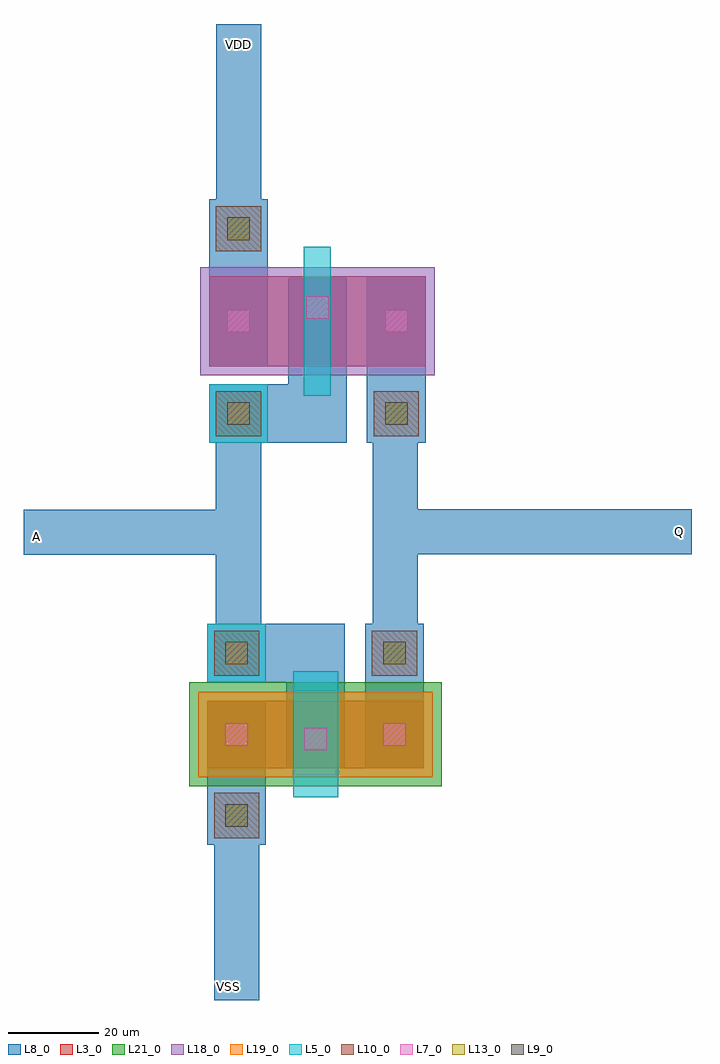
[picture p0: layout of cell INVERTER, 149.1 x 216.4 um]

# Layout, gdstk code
import gdstk
lib = gdstk.Library(unit=1e-6, precision=1e-07)
def R(c, l, rs):  # rectangles x0, y0, x1, y1
    for r in rs: c.add(gdstk.rectangle(r[:2], r[2:], *l))
def P(c, l, *ps):  # polygons
    for p in ps: c.add(gdstk.Polygon(p, *l))
L3_0 = (3, 0)
L5_0 = (5, 0)
L7_0 = (7, 0)
L8_0 = (8, 0)
L9_0 = (9, 0)
L10_0 = (10, 0)
L13_0 = (13, 0)
L18_0 = (18, 0)
L19_0 = (19, 0)
L21_0 = (21, 0)

dcont = lib.new_cell('dcont')
R(dcont, L3_0, [(-6.5,-6.5,6.5,6.5)])
R(dcont, L7_0, [(-2.5,-2.5,2.5,2.5)])
R(dcont, L8_0, [(-6.5,-6.5,6.5,6.5)])

pcont = lib.new_cell('pcont')
R(pcont, L5_0, [(-6.5,-6.5,6.5,6.5)])
R(pcont, L7_0, [(-2.5,-2.5,2.5,2.5)])
R(pcont, L8_0, [(-6.5,-6.5,6.5,6.5)])
R(pcont, L13_0, [(-2.5,-2.5,2.5,2.5)])

via = lib.new_cell('Via')
R(via, L8_0, [(-6.5,-6.5,6.5,6.5)])
R(via, L9_0, [(-2.5,-2.5,2.5,2.5)])
R(via, L10_0, [(-5,-5,5,5)])
R(via, L13_0, [(-2.5,-2.5,2.5,2.5)])

nch = lib.new_cell('Nch')
R(nch, L3_0, [(0,17,48,32)])
R(nch, L19_0, [(-2,15,50,34)])
R(nch, L21_0, [(-4,13,52,36)])
nch.add(gdstk.FlexPath([(24,17),(24,32)], 10, ends=(6.5, 6.5), simple_path=True, layer=5, datatype=0))  # L5_0
nch.add(gdstk.FlexPath([(6.5,17),(6.5,32)], 13, ends="flush", simple_path=True, layer=8, datatype=0))  # L8_0
nch.add(gdstk.FlexPath([(41.5,17),(41.5,32)], 13, ends="flush", simple_path=True, layer=8, datatype=0))  # L8_0
nch.add(gdstk.FlexPath([(6.5,42.5),(24,42.5),(24,38.5)], 13, ends="flush", simple_path=True, layer=8, datatype=0))  # L8_0
nch.add(gdstk.FlexPath([(6.5,6.5),(6.5,21)], 13, ends="flush", simple_path=True, layer=8, datatype=0))  # L8_0
nch.add(gdstk.FlexPath([(24,17),(24,42.5)], 13, ends="flush", simple_path=True, layer=8, datatype=0))  # L8_0
nch.add(gdstk.FlexPath([(41.5,28),(41.5,41.5)], 13, ends="flush", simple_path=True, layer=8, datatype=0))  # L8_0
nch.add(gdstk.Reference(dcont, (6.5,24.5)))
nch.add(gdstk.Reference(dcont, (41.5,24.5)))
nch.add(gdstk.Reference(pcont, (6.5,42.5)))
nch.add(gdstk.Reference(via, (6.5,42.5)))
nch.add(gdstk.Reference(via, (6.5,6.5)))
nch.add(gdstk.Reference(dcont, (24,23.5)))
nch.add(gdstk.Reference(via, (41.5,42.5)))

pch = lib.new_cell('Pch')
R(pch, L3_0, [(0,17,48,37)])
R(pch, L18_0, [(-2,15,50,39)])
pch.add(gdstk.FlexPath([(24,17),(24,37)], 6, ends=(6.5, 6.5), simple_path=True, layer=5, datatype=0))  # L5_0
pch.add(gdstk.FlexPath([(6.5,17),(6.5,37)], 13, ends="flush", simple_path=True, layer=8, datatype=0))  # L8_0
pch.add(gdstk.FlexPath([(41.5,17),(41.5,37)], 13, ends="flush", simple_path=True, layer=8, datatype=0))  # L8_0
pch.add(gdstk.FlexPath([(6.5,6.5),(24,6.5),(24,10.5)], 13, ends="flush", simple_path=True, layer=8, datatype=0))  # L8_0
pch.add(gdstk.FlexPath([(6.5,33),(6.5,47.5)], 13, ends="flush", simple_path=True, layer=8, datatype=0))  # L8_0
pch.add(gdstk.FlexPath([(24,6.5),(24,36.5)], 13, ends="flush", simple_path=True, layer=8, datatype=0))  # L8_0
pch.add(gdstk.FlexPath([(41.5,9),(41.5,21)], 13, ends="flush", simple_path=True, layer=8, datatype=0))  # L8_0
pch.add(gdstk.Reference(dcont, (6.5,27)))
pch.add(gdstk.Reference(dcont, (41.5,27)))
pch.add(gdstk.Reference(pcont, (6.5,6.5)))
pch.add(gdstk.Reference(via, (6.5,6.5)))
pch.add(gdstk.Reference(via, (6.5,47.5)))
pch.add(gdstk.Reference(dcont, (24,30)))
pch.add(gdstk.Reference(via, (41.5,6.5)))

inverter = lib.new_cell('INVERTER')
P(inverter, L8_0, [(-42.6,88.4),(-42.6,88.4),(-42.6,88.4),(-42.6,88.4)])
inverter.add(gdstk.FlexPath([(-144.1,66.2),(-144.1,11.1)], 10, ends="flush", simple_path=True, layer=8, datatype=0))  # L8_0
inverter.add(gdstk.FlexPath([(-109.3,66),(-109.3,11.4)], 10, ends="flush", simple_path=True, layer=8, datatype=0))  # L8_0
inverter.add(gdstk.FlexPath([(-144,101.4),(-144,152.6)], 10, ends="flush", simple_path=True, layer=8, datatype=0))  # L8_0
inverter.add(gdstk.FlexPath([(-109.1,40),(-43.6,40)], 10, ends="flush", simple_path=True, layer=8, datatype=0))  # L8_0
inverter.add(gdstk.FlexPath([(-144.3,39.9),(-191.7,39.9)], 10, ends="flush", simple_path=True, layer=8, datatype=0))  # L8_0
inverter.add(gdstk.FlexPath([(-144.5,-24.2),(-144.5,-63.8)], 10, ends="flush", simple_path=True, layer=8, datatype=0))  # L8_0
inverter.add(gdstk.Reference(nch, (-151,-29.4)))
inverter.add(gdstk.Reference(pch, (-150.6,59.7)))
inverter.add(gdstk.Label('A', (-188.9,39), layer=8, texttype=0))
inverter.add(gdstk.Label('Q', (-46.3,40), layer=8, texttype=0))
inverter.add(gdstk.Label('VDD', (-144,148.1), layer=8, texttype=0))
inverter.add(gdstk.Label('VSS', (-146.3,-60.7), layer=8, texttype=0))

lib.write_gds('INVERTER.gds')
